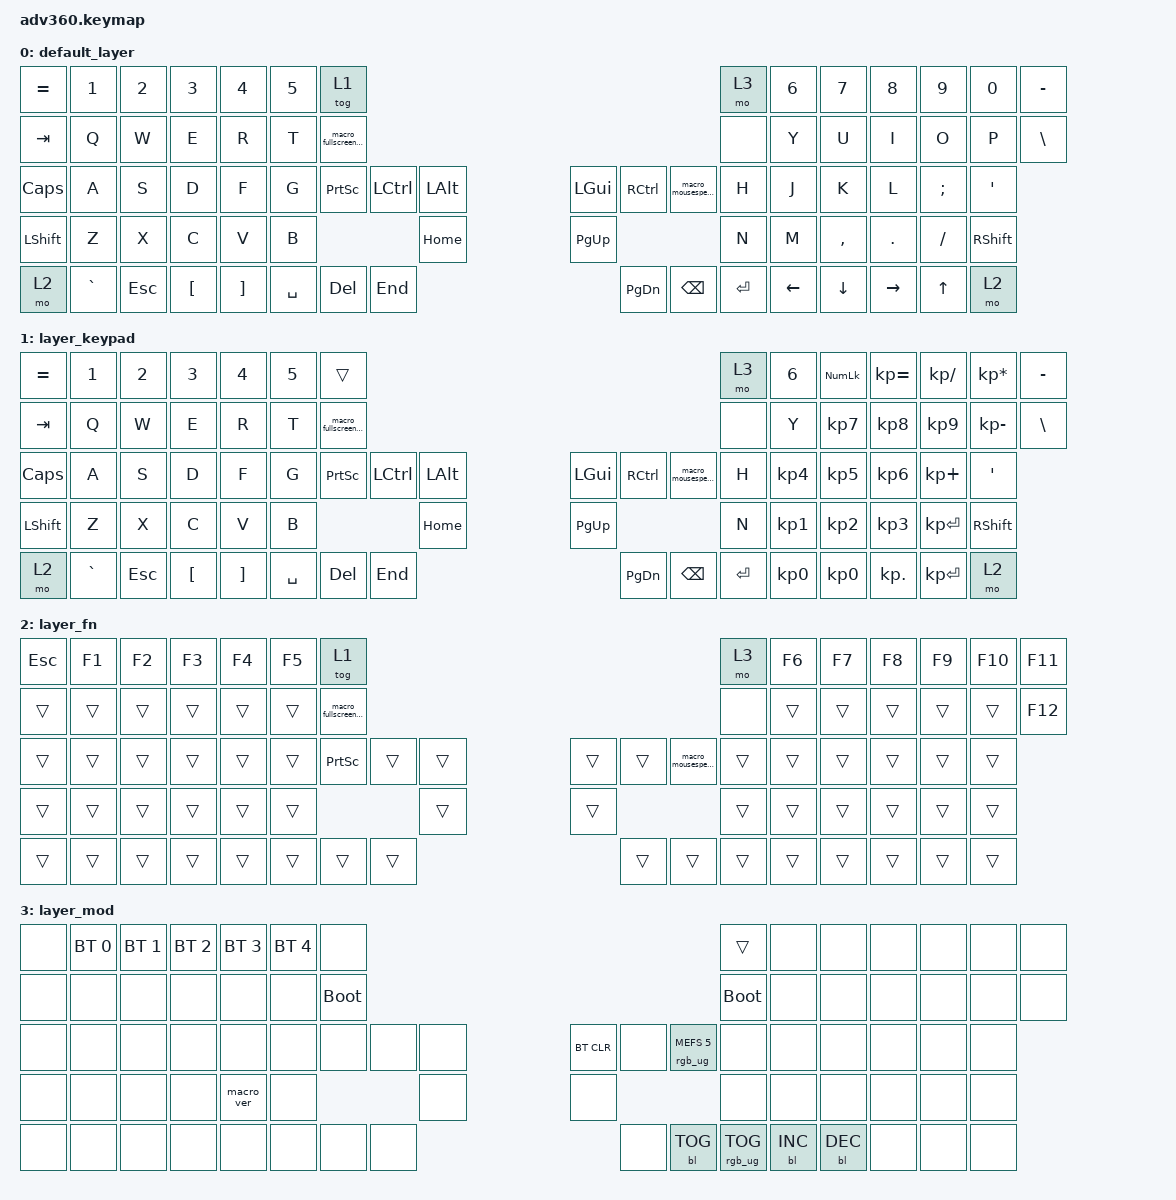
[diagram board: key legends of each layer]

/*
 * Copyright (c) 2020 The ZMK Contributors
 *
 * SPDX-License-Identifier: MIT
 */


/* THIS FILE WAS GENERATED!
 *
 * This file was generated automatically. You may or may not want to
 * edit it directly.
 */

#include <behaviors.dtsi>
#include <dt-bindings/zmk/keys.h>
#include <dt-bindings/zmk/bt.h>
#include <dt-bindings/zmk/rgb.h>
#include <dt-bindings/zmk/backlight.h>

/ {
  behaviors {
    #include "macros.dtsi"
    #include "version.dtsi"

    hm: homerow_mods {
        compatible = "zmk,behavior-hold-tap";
        label = "HOMEROW_MODS";
        #binding-cells = <2>;
        tapping-term-ms = <200>;
        quick_tap_ms = <175>;
        flavor = "tap-preferred";
        bindings = <&kp>, <&kp>;
    };
  };

    keymap {
        compatible = "zmk,keymap";


        default_layer {
            bindings = <
 &kp EQUAL     &kp N1   &kp N2    &kp N3    &kp N4  &kp N5                          &tog 1                                                                             &mo 3  &kp N6    &kp N7     &kp N8     &kp N9    &kp N0  &kp MINUS
   &kp TAB      &kp Q    &kp W     &kp E     &kp R   &kp T            &macro_fullscreen_ps                                                                             &none   &kp Y     &kp U      &kp I      &kp O     &kp P   &kp BSLH
  &kp CAPS      &kp A    &kp S     &kp D     &kp F   &kp G                 &kp PRINTSCREEN  &kp LCTRL  &kp LALT                   &kp LGUI      &kp RCTRL  &macro_mousespeed   &kp H     &kp J      &kp K      &kp L  &kp SEMI    &kp SQT
 &kp LSHFT      &kp Z    &kp X     &kp C     &kp V   &kp B                                             &kp HOME                  &kp PG_UP                                     &kp N     &kp M  &kp COMMA    &kp DOT  &kp FSLH  &kp RSHFT
     &mo 2  &kp GRAVE  &kp ESC  &kp LBKT  &kp RBKT                               &kp SPACE    &kp DEL   &kp END                  &kp PG_DN  &kp BACKSPACE          &kp ENTER          &kp LEFT   &kp DOWN  &kp RIGHT    &kp UP      &mo 2
            >;
        };

        layer_keypad {
            bindings = <
 &kp EQUAL     &kp N1   &kp N2    &kp N3    &kp N4  &kp N5                          &trans                                                                         &mo 3  &kp N6  &kp KP_NUM  &kp KP_EQUAL  &kp KP_DIVIDE  &kp KP_MULTIPLY  &kp MINUS
   &kp TAB      &kp Q    &kp W     &kp E     &kp R   &kp T            &macro_fullscreen_ps                                                                         &none   &kp Y   &kp KP_N7     &kp KP_N8      &kp KP_N9     &kp KP_MINUS   &kp BSLH
  &kp CAPS      &kp A    &kp S     &kp D     &kp F   &kp G                 &kp PRINTSCREEN  &kp LCTRL  &kp LALT                   &kp LGUI  &kp RCTRL  &macro_mousespeed   &kp H   &kp KP_N4     &kp KP_N5      &kp KP_N6      &kp KP_PLUS    &kp SQT
 &kp LSHFT      &kp Z    &kp X     &kp C     &kp V   &kp B                                             &kp HOME                  &kp PG_UP                                 &kp N   &kp KP_N1     &kp KP_N2      &kp KP_N3     &kp KP_ENTER  &kp RSHFT
     &mo 2  &kp GRAVE  &kp ESC  &kp LBKT  &kp RBKT                               &kp SPACE    &kp DEL   &kp END                  &kp PG_DN   &kp BSPC          &kp ENTER           &kp KP_N0     &kp KP_N0     &kp KP_DOT     &kp KP_ENTER      &mo 2
            >;
        };

        layer_fn {
            bindings = <
 &kp ESC  &kp F1  &kp F2  &kp F3  &kp F4  &kp F5                          &tog 1                                                              &mo 3  &kp F6  &kp F7  &kp F8  &kp F9  &kp F10  &kp F11
  &trans  &trans  &trans  &trans  &trans  &trans            &macro_fullscreen_ps                                                              &none  &trans  &trans  &trans  &trans   &trans  &kp F12
  &trans  &trans  &trans  &trans  &trans  &trans                 &kp PRINTSCREEN  &trans  &trans                  &trans  &trans  &macro_mousespeed  &trans  &trans  &trans  &trans   &trans   &trans
  &trans  &trans  &trans  &trans  &trans  &trans                                          &trans                  &trans                             &trans  &trans  &trans  &trans   &trans   &trans
  &trans  &trans  &trans  &trans  &trans                                  &trans  &trans  &trans                  &trans  &trans             &trans          &trans  &trans  &trans   &trans   &trans
            >;
        };

        layer_mod {
            bindings = <
  &none  &bt BT_SEL 0  &bt BT_SEL 1  &bt BT_SEL 2  &bt BT_SEL 3  &bt BT_SEL 4                  &none                                                                          &trans   &none       &none       &none   &none   &none   &none
  &none         &none         &none         &none         &none         &none            &bootloader                                                                     &bootloader   &none       &none       &none   &none   &none   &none
  &none         &none         &none         &none         &none         &none                  &none   &none   &none                  &bt BT_CLR       &none  &rgb_ug RGB_MEFS_CMD 5   &none       &none       &none   &none   &none   &none
  &none         &none         &none         &none    &macro_ver         &none                                  &none                       &none                                       &none       &none       &none   &none   &none   &none
  &none         &none         &none         &none         &none                                &none   &none   &none                       &none  &bl BL_TOG         &rgb_ug RGB_TOG          &bl BL_INC  &bl BL_DEC   &none   &none   &none
            >;
        };

    };
};
